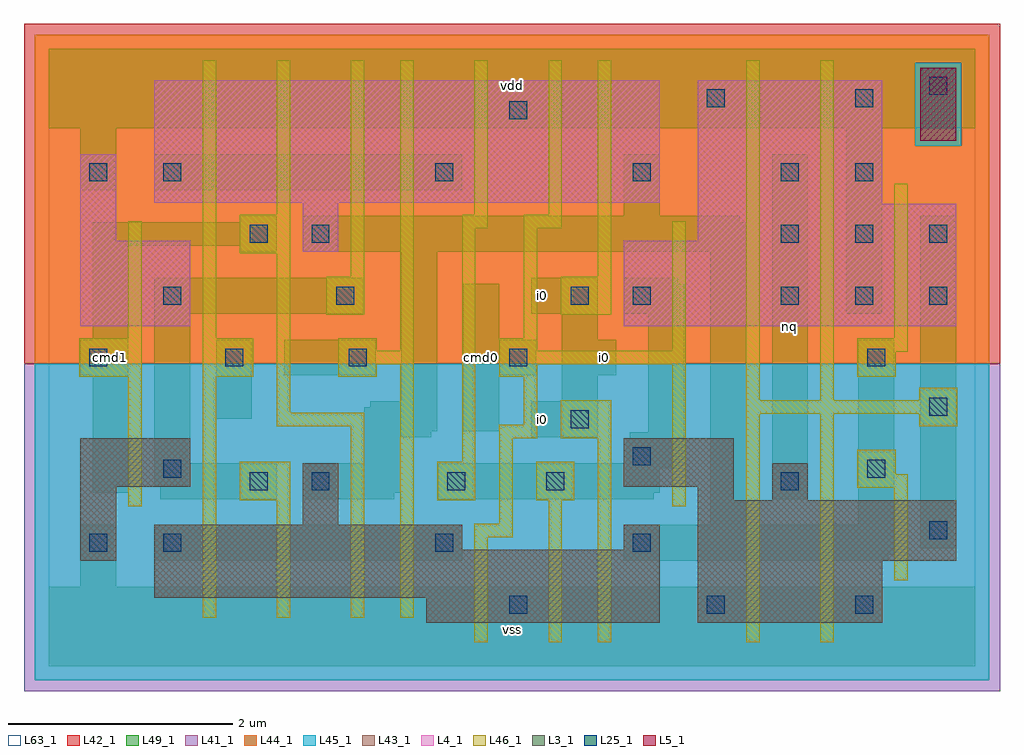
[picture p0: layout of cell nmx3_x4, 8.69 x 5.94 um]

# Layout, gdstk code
import gdstk
lib = gdstk.Library(unit=1e-6, precision=1e-09)
def R(c, l, rs):  # rectangles x0, y0, x1, y1
    for r in rs: c.add(gdstk.rectangle(r[:2], r[2:], *l))
def A(c, l, x, y, w, h, nx, ny, dx, dy):  # array of equal rectangles
    R(c, l, [(x+i*dx, y+j*dy, x+i*dx+w, y+j*dy+h) for i in range(nx) for j in range(ny)])
L3_1 = (3, 1)
L4_1 = (4, 1)
L5_1 = (5, 1)
L25_1 = (25, 1)
L41_1 = (41, 1)
L42_1 = (42, 1)
L43_1 = (43, 1)
L44_1 = (44, 1)
L45_1 = (45, 1)
L46_1 = (46, 1)
L49_1 = (49, 1)
L63_1 = (63, 1)

nmx3_x4 = lib.new_cell('nmx3_x4')
R(nmx3_x4, L3_1, [(3.36,0.39,5.44,0.61), (5.78,0.39,7.42,0.94), (0.94,0.61,5.44,1.04), (0.28,0.94,0.6,1.6), (5.78,0.94,8.08,1.48), (0.94,1.04,3.68,1.26), (5.12,1.04,5.44,1.26), (2.26,1.26,2.58,1.81), (5.78,1.48,6.1,1.6), (6.44,1.48,6.76,1.81), (0.28,1.6,1.26,2.03), (5.12,1.6,6.1,2.03)])
R(nmx3_x4, L4_1, [(0.28,3.03,1.26,3.79), (5.12,3.03,8.08,3.79), (2.26,3.69,2.58,4.13), (0.28,3.79,0.6,4.56), (5.78,3.79,8.08,4.12), (5.78,4.12,7.42,5.22), (0.94,4.13,5.44,5.22)])
R(nmx3_x4, L5_1, [(7.76,4.68,8.08,5.33)])
A(nmx3_x4, L25_1, 4.1, 0.47, 0.16, 0.16, 1, 3, 0, 2.2)
A(nmx3_x4, L25_1, 0.36, 1.02, 0.16, 0.16, 1, 3, 0, 1.65)
A(nmx3_x4, L25_1, 6.52, 3.22, 0.16, 0.16, 3, 2, 0.66, 0.55)
R(nmx3_x4, L25_1, [(5.86,0.47,6.02,0.63), (7.18,0.47,7.34,0.63), (1.02,1.02,1.18,1.18), (3.44,1.02,3.6,1.18), (5.2,1.02,5.36,1.18), (7.84,1.13,8,1.29), (1.79,1.57,1.95,1.73), (2.34,1.57,2.5,1.73), (3.55,1.57,3.71,1.73), (4.43,1.57,4.59,1.73), (6.52,1.57,6.68,1.73), (1.02,1.68,1.18,1.84), (7.29,1.68,7.45,1.84), (5.2,1.79,5.36,1.95), (4.65,2.12,4.81,2.28), (7.84,2.23,8,2.39), (1.57,2.67,1.73,2.83), (2.67,2.67,2.83,2.83), (7.29,2.67,7.45,2.83), (1.02,3.22,1.18,3.38), (2.56,3.22,2.72,3.38), (4.65,3.22,4.81,3.38), (5.2,3.22,5.36,3.38), (1.79,3.77,1.95,3.93), (2.34,3.77,2.5,3.93), (1.02,4.32,1.18,4.48), (3.44,4.32,3.6,4.48), (5.2,4.32,5.36,4.48), (6.52,4.32,6.68,4.48), (7.18,4.32,7.34,4.48), (5.86,4.98,6.02,5.14), (7.18,4.98,7.34,5.14), (7.84,5.09,8,5.25)])
R(nmx3_x4, L41_1, [(-0.22,-0.22,8.47,2.695)])
R(nmx3_x4, L42_1, [(-0.22,2.695,8.47,5.72)])
R(nmx3_x4, L43_1, [(3.36,0.39,5.44,0.61), (5.78,0.39,7.42,0.94), (0.94,0.61,5.44,1.04), (0.28,0.94,0.6,1.6), (5.78,0.94,8.08,1.48), (0.94,1.04,3.68,1.26), (5.12,1.04,5.44,1.26), (2.26,1.26,2.58,1.81), (5.78,1.48,6.1,1.6), (6.44,1.48,6.76,1.81), (0.28,1.6,1.26,2.03), (5.12,1.6,6.1,2.03), (0.28,3.03,1.26,3.79), (5.12,3.03,8.08,3.79), (2.26,3.69,2.58,4.13), (0.28,3.79,0.6,4.56), (5.78,3.79,8.08,4.12), (5.78,4.12,7.42,5.22), (0.94,4.13,5.44,5.22), (7.76,4.68,8.08,5.33)])
R(nmx3_x4, L44_1, [(-0.125,2.695,8.375,4.635), (-0.125,4.635,7.715,5.375), (8.125,4.635,8.375,5.375), (-0.125,5.375,8.375,5.625)])
R(nmx3_x4, L45_1, [(-0.125,-0.125,8.375,2.695), (7.715,4.635,8.125,5.375)])
R(nmx3_x4, L46_1, [(3.79,0.215,3.91,1.15), (4.45,0.215,4.57,1.48), (4.89,0.215,5.01,2.03), (6.21,0.215,6.33,2.25), (6.87,0.215,6.99,2.25), (1.37,0.435,1.49,2.58), (2.03,0.435,2.15,1.48), (2.69,0.435,2.81,2.14), (3.13,0.435,3.25,2.69), (7.53,0.765,7.65,1.59), (3.79,1.15,4.13,1.27), (4.01,1.27,4.13,2.03), (0.71,1.425,0.83,2.58), (5.55,1.425,5.67,2.69), (1.7,1.48,2.15,1.82), (3.46,1.48,3.8,1.82), (4.34,1.48,4.68,1.82), (7.2,1.59,7.65,1.71), (7.2,1.71,7.54,1.93), (3.68,1.82,3.8,3.9), (4.01,2.03,4.35,2.15), (4.56,2.03,5.01,2.37), (2.03,2.14,2.81,2.26), (7.75,2.14,8.09,2.25), (4.23,2.15,4.35,2.58), (6.21,2.25,8.09,2.37), (2.03,2.26,2.15,3.68), (6.21,2.37,6.33,5.395), (6.87,2.37,6.99,5.395), (7.75,2.37,8.09,2.48), (0.27,2.58,0.83,2.92), (1.37,2.58,1.82,2.92), (2.58,2.58,2.92,2.69), (4.01,2.58,4.35,2.69), (7.2,2.58,7.54,2.8), (2.58,2.69,3.25,2.81), (4.01,2.69,5.67,2.81), (7.2,2.8,7.65,2.92), (2.58,2.81,2.92,2.92), (3.13,2.81,3.25,5.395), (4.01,2.81,4.35,2.92), (5.55,2.81,5.67,3.965), (0.71,2.92,0.83,3.965), (1.37,2.92,1.49,5.395), (4.23,2.92,4.35,3.9), (7.53,2.92,7.65,4.295), (2.47,3.13,2.81,3.47), (4.56,3.13,5.01,3.47), (2.69,3.47,2.81,5.395), (4.89,3.47,5.01,5.395), (1.7,3.68,2.15,4.02), (3.68,3.9,3.91,4.02), (4.23,3.9,4.57,4.02), (2.03,4.02,2.15,5.395), (3.79,4.02,3.91,5.395), (4.45,4.02,4.57,5.395)])
R(nmx3_x4, L49_1, [(0,0,8.25,0.71), (0.28,0.71,0.6,1.26), (0.94,0.94,3.68,1.26), (5.12,0.94,7.475,0.995), (5.12,0.995,7.53,1.26), (7.76,1.05,8.08,4.01), (5.89,1.26,6.21,3.69), (7.21,1.26,7.53,2.91), (0.995,1.49,2.03,1.6), (2.26,1.49,3.075,1.545), (3.47,1.49,5.385,1.545), (6.44,1.49,6.76,4.56), (0.39,1.545,0.71,2.59), (2.26,1.545,3.13,1.81), (3.47,1.545,5.44,1.765), (0.94,1.6,2.03,1.81), (3.47,1.765,5.605,1.81), (0.94,1.81,1.26,3.14), (2.81,1.81,3.13,2.04), (5.12,1.81,5.605,1.82), (5.12,1.82,5.66,2.03), (5.175,2.03,5.66,2.085), (2.81,2.04,3.405,2.095), (4.295,2.04,4.89,2.36), (5.34,2.085,5.66,3.14), (2.81,2.095,3.46,2.305), (3.69,2.095,4.01,2.59), (1.49,2.205,1.81,2.91), (2.865,2.305,3.46,2.36), (3.14,2.36,3.46,3.69), (4.57,2.36,4.89,2.59), (0.28,2.59,0.71,2.91), (2.095,2.59,2.91,2.91), (3.69,2.59,4.34,2.91), (4.57,2.59,5.055,2.91), (0.39,2.91,0.71,3.745), (3.69,2.91,4.01,3.405), (4.57,2.91,4.89,3.14), (0.94,3.14,2.8,3.46), (4.295,3.14,4.89,3.46), (5.12,3.14,5.66,3.405), (7.1,3.14,7.42,4.79), (5.12,3.405,5.605,3.46), (1.71,3.69,2.03,3.745), (2.26,3.69,6.21,3.955), (0.39,3.745,2.03,3.955), (1.71,3.955,2.03,4.01), (2.26,3.955,6.155,4.01), (5.12,4.01,5.44,4.56), (0.28,4.24,0.6,4.79), (0.94,4.24,3.68,4.56), (0,4.79,8.25,5.5)])
R(nmx3_x4, L63_1, [(0,0,8.25,5.5)])
nmx3_x4.add(gdstk.Label('cmd1', (0.55,2.75), layer=49, texttype=1))
nmx3_x4.add(gdstk.Label('cmd1', (0.55,2.75), layer=49, texttype=1))
nmx3_x4.add(gdstk.Label('vss', (4.125,0.33), layer=49, texttype=1))
nmx3_x4.add(gdstk.Label('vss', (4.125,0.33), layer=49, texttype=1))
nmx3_x4.add(gdstk.Label('i0', (4.4,2.2), layer=49, texttype=1))
nmx3_x4.add(gdstk.Label('i0', (4.4,2.2), layer=49, texttype=1))
nmx3_x4.add(gdstk.Label('cmd0', (3.85,2.75), layer=49, texttype=1))
nmx3_x4.add(gdstk.Label('cmd0', (3.85,2.75), layer=49, texttype=1))
nmx3_x4.add(gdstk.Label('i0', (4.4,3.3), layer=49, texttype=1))
nmx3_x4.add(gdstk.Label('i0', (4.4,3.3), layer=49, texttype=1))
nmx3_x4.add(gdstk.Label('vdd', (4.125,5.17), layer=49, texttype=1))
nmx3_x4.add(gdstk.Label('vdd', (4.125,5.17), layer=49, texttype=1))
nmx3_x4.add(gdstk.Label('i0', (4.95,2.75), layer=49, texttype=1))
nmx3_x4.add(gdstk.Label('i0', (4.95,2.75), layer=49, texttype=1))
nmx3_x4.add(gdstk.Label('nq', (6.6,3.025), layer=49, texttype=1))
nmx3_x4.add(gdstk.Label('nq', (6.6,3.025), layer=49, texttype=1))

lib.write_gds('nmx3_x4.gds')
